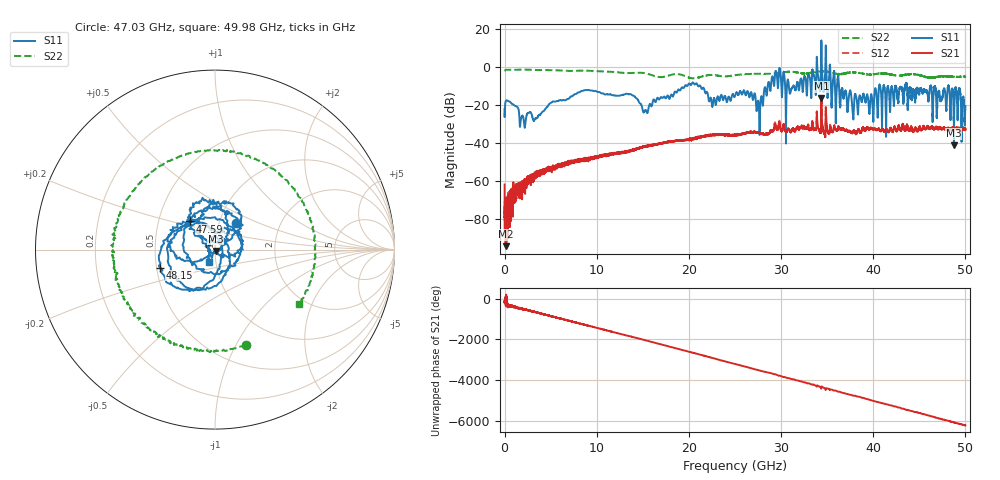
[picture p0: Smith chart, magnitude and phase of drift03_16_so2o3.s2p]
!Created with skrf (http://scikit-rf.org).
# Hz S RI R 50.0
!freq ReS11 ImS11 ReS21 ImS21 ReS12 ImS12 ReS22 ImS22
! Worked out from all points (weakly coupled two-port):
!   10001 points, 300 kHz to 50 GHz, reference 50 ohm
!   highest |S21| = -16.46 dB at 34.37 GHz (marker M1); lowest = -94.4 dB at 110.3 MHz (marker M2)
!   lowest |S11| = -41.3 dB at 48.76 GHz (marker M3), VSWR 1.02, Z = 50.4 - j0.77 ohm
!   |S11| at or under -10 dB: start of sweep to 19.56 GHz; 21.25 GHz to 28.55 GHz (7.297 GHz wide, 29.3 % of centre); 36.29 GHz to 40.63 GHz (4.345 GHz wide, 11.3 % of centre) (the widest 3 of 38)
!   |S22| runs from -5.9 to -1.3 dB; largest |S21 - S12| = 0.033
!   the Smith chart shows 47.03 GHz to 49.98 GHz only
!   S11 on the Smith chart (normalised r, x): 47.03 GHz: 1.20, +0.37; 47.59 GHz: 0.73, +0.24; 48.15 GHz: 0.53, -0.12; 49.98 GHz: 0.93, -0.13
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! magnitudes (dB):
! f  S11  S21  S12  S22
! 300 kHz  -21.9  -61.9  -70.8  -2.1
! 110.3 MHz  -18.2  -94.4  -70.6  -1.5
! 3.3 GHz  -27.2  -57.2  -57.7  -1.5
! 8.335 GHz  -12.6  -49.2  -48.8  -1.9
! 15.29 GHz  -22.8  -42.0  -41.9  -3.3
! 16.67 GHz  -16.6  -40.7  -40.4  -5.2
! 20.26 GHz  -9.2  -38.1  -38.2  -5.9
! 22.71 GHz  -16.5  -35.6  -35.6  -4.2
! 25 GHz  -15.3  -35.8  -35.7  -4.3
! 27.52 GHz  -17.8  -34.6  -34.4  -3.5
! 29.28 GHz  -8.7  -31.2  -30.6  -3.3
! 30.73 GHz  -6.6  -32.7  -32.4  -2.5
! 33.34 GHz  -7.6  -31.2  -31.3  -2.9
! 34.37 GHz  14.0  -16.5  -18.1  -2.3
! 37.84 GHz  -27.3  -33.9  -34.2  -2.8
! 41.67 GHz  -11.7  -34.3  -34.0  -3.7
! 47.03 GHz  -14.4  -32.6  -32.3  -5.1
! 47.59 GHz  -13.6  -32.4  -32.3  -4.8
! 48.15 GHz  -9.9  -32.2  -31.8  -4.8
! 48.76 GHz  -41.3  -32.7  -32.1  -5.1
! 49.98 GHz  -22.6  -32.1  -33.0  -5.0
! 50 GHz  -20.6  -33.1  -32.7  -5.0
